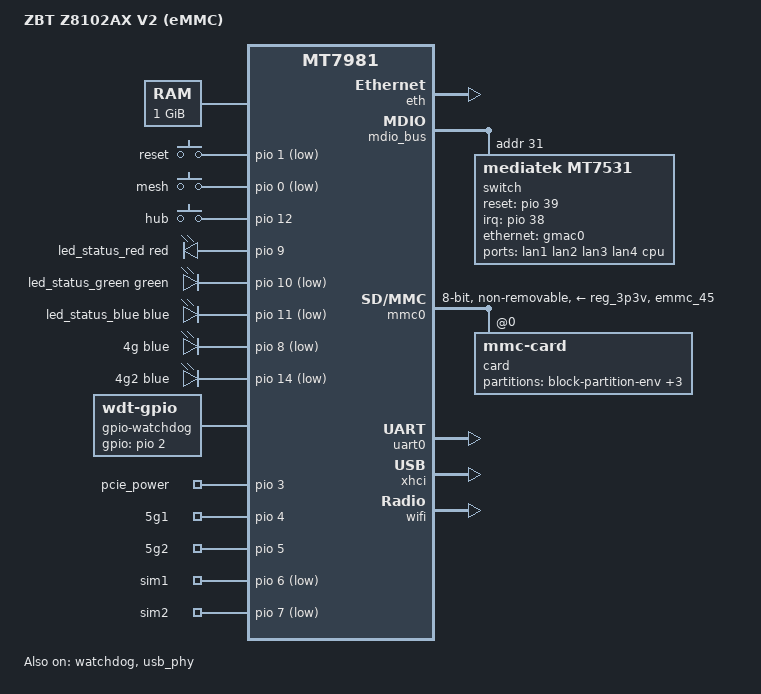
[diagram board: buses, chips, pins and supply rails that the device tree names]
// SPDX-License-Identifier: GPL-2.0-or-later OR MIT

/dts-v1/;
#include <dt-bindings/gpio/gpio.h>
#include <dt-bindings/input/input.h>
#include <dt-bindings/pinctrl/mt65xx.h>

#include "mt7981b.dtsi"

/ {
	model = "ZBT Z8102AX V2 (eMMC)";
	compatible = "zbtlink,zbt-z8102ax-v2-emmc", "mediatek,mt7981";

	aliases {
		serial0 = &uart0;
		led-boot = &led_status_green;
		led-failsafe = &led_status_red;
		led-running = &led_status_green;
		led-upgrade = &led_status_green;
		label-mac-device = &gmac0;
	};

	chosen {
		stdout-path = "serial0:115200n8";
		bootargs = "console=ttyS0,115200n8 root=PARTLABEL=rootfs rootwait";
	};

	memory@40000000 {
		reg = <0 0x40000000 0 0x40000000>;
		device_type = "memory";
	};

	gpio-keys {
		compatible = "gpio-keys";

		button-reset {
			label = "reset";
			linux,code = <KEY_RESTART>;
			gpios = <&pio 1 GPIO_ACTIVE_LOW>;
		};

		button-mesh {
			label = "mesh";
			linux,code = <BTN_0>;
			gpios = <&pio 0 GPIO_ACTIVE_LOW>;
		};

		button-hub {
			label = "hub";
			linux,code = <BTN_1>;
			gpios = <&pio 12 GPIO_ACTIVE_HIGH>;
		};
	};

	leds {
		compatible = "gpio-leds";

		led_status_red: red {
			gpios = <&pio 9 GPIO_ACTIVE_HIGH>;
			color = <LED_COLOR_ID_RED>;
			function = LED_FUNCTION_STATUS;
		};

		led_status_green: green {
			gpios = <&pio 10 GPIO_ACTIVE_LOW>;
			color = <LED_COLOR_ID_GREEN>;
			function = LED_FUNCTION_STATUS;
		};

		led_status_blue: blue {
			gpios = <&pio 11 GPIO_ACTIVE_LOW>;
			color = <LED_COLOR_ID_BLUE>;
			function = LED_FUNCTION_STATUS;
		};

		4g {
			gpios = <&pio 8 GPIO_ACTIVE_LOW>;
			color = <LED_COLOR_ID_BLUE>;
			function = LED_FUNCTION_USB;
			function-enumerator = <0>;
		};

		4g2 {
			gpios = <&pio 14 GPIO_ACTIVE_LOW>;
			color = <LED_COLOR_ID_BLUE>;
			function = LED_FUNCTION_USB;
			function-enumerator = <1>;
		};
	};

	gpio-watchdog {
		compatible = "linux,wdt-gpio";
		gpios = <&pio 2 GPIO_ACTIVE_HIGH>;
		hw_algo = "toggle";
		hw_margin_ms = <1000>;
	};

	gpio-export {
		compatible = "gpio-export";

		pcie {
			gpio-export,name = "pcie_power";
			gpio-export,output = <1>;
			gpios = <&pio 3 GPIO_ACTIVE_HIGH>;
		};

		5g1 {
			gpio-export,name = "5g1";
			gpio-export,output = <1>;
			gpios = <&pio 4 GPIO_ACTIVE_HIGH>;
		};

		5g2 {
			gpio-export,name = "5g2";
			gpio-export,output = <1>;
			gpios = <&pio 5 GPIO_ACTIVE_HIGH>;
		};

		sim1 {
			gpio-export,name = "sim1";
			gpio-export,output = <0>;
			gpios = <&pio 6 GPIO_ACTIVE_LOW>;
		};

		sim2 {
			gpio-export,name = "sim2";
			gpio-export,output = <0>;
			gpios = <&pio 7 GPIO_ACTIVE_LOW>;
		};
	};
};

&eth {
	status = "okay";

	gmac0: mac@0 {
		/* LAN */
		compatible = "mediatek,eth-mac";
		reg = <0>;
		phy-mode = "2500base-x";

		nvmem-cell-names = "mac-address";
		nvmem-cells = <&macaddr_factory_4 0>;

		fixed-link {
			speed = <2500>;
			full-duplex;
			pause;
		};
	};

	gmac1: mac@1 {
		/* WAN */
		compatible = "mediatek,eth-mac";
		reg = <1>;
		phy-mode = "gmii";
		phy-handle = <&int_gbe_phy>;

		nvmem-cell-names = "mac-address";
		nvmem-cells = <&macaddr_factory_4 2>;
	};
};

&mdio_bus {
	switch: switch@1f {
		compatible = "mediatek,mt7531";
		reg = <31>;
		reset-gpios = <&pio 39 GPIO_ACTIVE_HIGH>;
		interrupt-controller;
		#interrupt-cells = <1>;
		interrupt-parent = <&pio>;
		interrupts = <38 IRQ_TYPE_LEVEL_HIGH>;
	};
};

&mmc0 {
	#address-cells = <1>;
	#size-cells = <0>;
	pinctrl-names = "default", "state_uhs";
	pinctrl-0 = <&mmc0_pins_default>;
	pinctrl-1 = <&mmc0_pins_uhs>;
	bus-width = <8>;
	max-frequency = <52000000>;
	cap-mmc-highspeed;
	no-sd;
	no-sdio;
	non-removable;
	vmmc-supply = <&reg_3p3v>;
	status = "okay";

	card@0 {
		compatible = "mmc-card";
		reg = <0>;

		block {
			compatible = "block-device";

			partitions {
				block-partition-env {
					partname = "u-boot-env";

					nvmem-layout {
						compatible = "u-boot,env";
					};
				};

				block-partition-factory {
					partname = "factory";

					nvmem-layout {
						compatible = "fixed-layout";
						#address-cells = <1>;
						#size-cells = <1>;

						eeprom_factory: eeprom@0 {
							reg = <0x0 0x1000>;
						};

						macaddr_factory_4: macaddr@4 {
							compatible = "mac-base";
							reg = <0x4 0x6>;
							#nvmem-cell-cells = <1>;
						};
					};
				};

				block-partition-kernel {
					partname = "kernel";
				};

				block-partition-rootfs {
					partname = "rootfs";
				};
			};
		};
	};
};

&switch {
	ports {
		#address-cells = <1>;
		#size-cells = <0>;

		port@0 {
			reg = <0>;
			label = "lan1";
		};

		port@1 {
			reg = <1>;
			label = "lan2";
		};

		port@2 {
			reg = <2>;
			label = "lan3";
		};

		port@3 {
			reg = <3>;
			label = "lan4";
		};

		port@6 {
			reg = <6>;
			label = "cpu";
			ethernet = <&gmac0>;
			phy-mode = "2500base-x";

			fixed-link {
				speed = <2500>;
				full-duplex;
				pause;
			};
		};
	};
};

&pio {
	mmc0_pins_default: mmc0-pins-default {
		mux {
			function = "flash";
			groups = "emmc_45";
		};
	};

	mmc0_pins_uhs: mmc0-pins-uhs {
		mux {
			function = "flash";
			groups = "emmc_45";
		};
	};
};

&uart0 {
	status = "okay";
};

&watchdog {
	status = "okay";
};

&usb_phy {
	status = "okay";
};

&xhci {
	status = "okay";
};

&wifi {
	status = "okay";
	nvmem-cells = <&eeprom_factory>;
	nvmem-cell-names = "eeprom";
};
